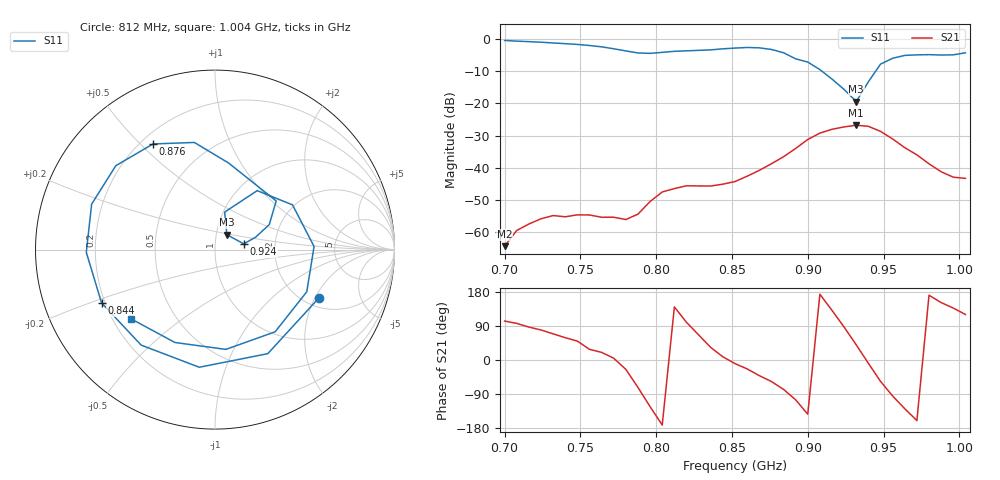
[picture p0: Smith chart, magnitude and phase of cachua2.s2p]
# Hz S RI R 50
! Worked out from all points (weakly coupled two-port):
!   39 points, 700 MHz to 1.004 GHz, reference 50 ohm
!   highest |S21| = -26.80 dB at 932 MHz (marker M1); lowest = -64.3 dB at 700 MHz (marker M2)
!   lowest |S11| = -19.5 dB at 932 MHz (marker M3), VSWR 1.24, Z = 56.3 + j9.42 ohm
!   |S11| at or under -10 dB: 909.2 MHz to 944.9 MHz (35.68 MHz wide, 3.85 % of centre)
!   S12 and S22 are empty: the file has one direction only
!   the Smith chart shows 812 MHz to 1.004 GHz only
!   S11 on the Smith chart (normalised r, x): 812 MHz: 2.37, -2.16; 844 MHz: 0.19, -0.22; 876 MHz: 0.25, +0.55; 924 MHz: 1.38, +0.09; 1.004 GHz: 0.28, -0.34
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7e8  0.7618 0.5529  -0.000135 0.000595  0 0  0 0
7.24e8  0.8487 -0.2488  0.000302 0.00159  0 0  0 0
7.4e8  0.4593 -0.7027  0.0009 0.00149  0 0  0 0
7.56e8  -0.1909 -0.7626  0.00164 0.000876  0 0  0 0
7.72e8  -0.6679 -0.2095  0.00171 0.000142  0 0  0 0
7.8e8  -0.6088 0.2208  0.00143 -0.000663  0 0  0 0
7.88e8  -0.2665 0.5406  0.000578 -0.00183  0 0  0 0
7.96e8  0.2314 0.5471  -0.00165 -0.00251  0 0  0 0
8.04e8  0.5823 0.1991  -0.00418 -0.000612  0 0  0 0
8.12e8  0.5793 -0.269  -0.00365 0.00306  0 0  0 0
8.28e8  -0.0877 -0.6555  0.00211 0.00479  0 0  0 0
8.44e8  -0.6319 -0.2969  0.00552 0.000815  0 0  0 0
8.52e8  -0.717 -0.0155  0.00604 -0.00101  0 0  0 0
8.76e8  -0.3456 0.5885  0.00633 -0.00965  0 0  0 0
9e8  0.341 0.2709  -0.022 -0.0165  0 0  0 0
9.08e8  0.3023 0.1393  -0.0342 0.00391  0 0  0 0
9.24e8  0.1605 0.0321  0.00242 0.043  0 0  0 0
9.32e8  0.0664 0.0828  0.0351 0.0293  0 0  0 0
9.56e8  0.4318 0.2493  -0.00242 -0.0279  0 0  0 0
9.64e8  0.552 0.0174  -0.0128 -0.016  0 0  0 0
9.8e8  0.3351 -0.4579  -0.0114 0.0018  0 0  0 0
1.004e9  -0.4656 -0.3868  -0.00343 0.00593  0 0  0 0
